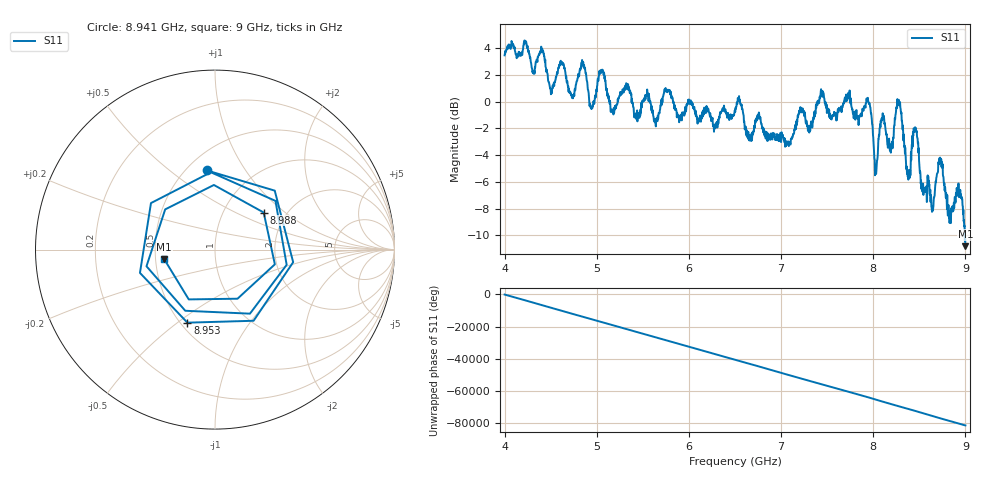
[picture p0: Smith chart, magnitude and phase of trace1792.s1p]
! Created with skrf 1.8.0 (http://scikit-rf.org).
# Hz S RI R 50.0
!freq ReS11 ImS11
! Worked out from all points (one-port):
!   1601 points, 4 GHz to 9 GHz, reference 50 ohm
!   lowest |S11| = -10.8 dB at 9 GHz (marker M1), VSWR 1.81, Z = 27.8 - j3.27 ohm
!   |S11| at or under -10 dB: 8.992878 GHz to end of sweep
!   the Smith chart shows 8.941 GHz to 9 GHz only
!   S11 on the Smith chart (normalised r, x): 8.941 GHz: 0.62, +0.68; 8.953 GHz: 0.54, -0.54; 8.988 GHz: 1.54, +0.72; 9 GHz: 0.56, -0.07
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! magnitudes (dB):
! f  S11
! 4 GHz  3.5
! 4.406 GHz  3.9
! 4.512 GHz  0.6
! 4.625 GHz  2.8
! 4.731 GHz  0.3
! 4.847 GHz  3.0
! 4.941 GHz  -0.5
! 5.053 GHz  2.4
! 5.25 GHz  0.4
! 5.875 GHz  -1.0
! 6.5 GHz  -0.7
! 7.125 GHz  -2.6
! 7.75 GHz  0.2
! 7.95 GHz  -0.1
! 8.028 GHz  -4.8
! 8.094 GHz  -1.4
! 8.184 GHz  -3.3
! 8.281 GHz  -0.3
! 8.375 GHz  -5.6
! 8.456 GHz  -1.9
! 8.531 GHz  -6.3
! 8.638 GHz  -8.2
! 8.728 GHz  -4.4
! 8.831 GHz  -8.8
! 8.941 GHz  -7.1
! 8.953 GHz  -7.2
! 8.988 GHz  -9.3
! 9 GHz  -10.8
